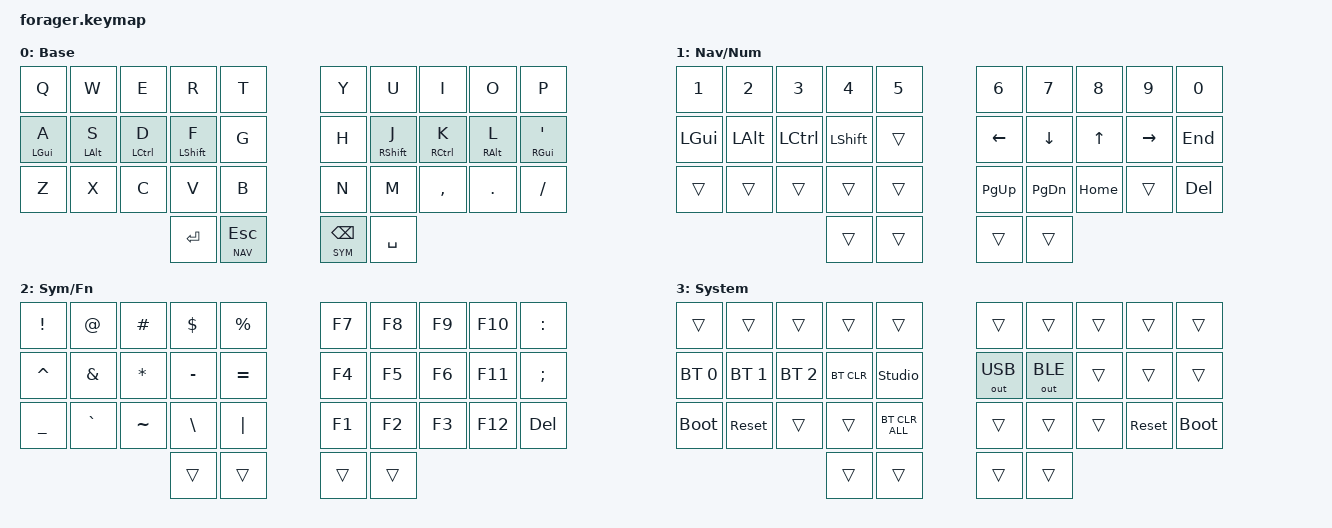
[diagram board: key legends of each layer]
/*
 * PandaKB Forager, 34 keys (3x5+2) — ZMK.
 * Ported from mbastar/zmk-keyboard-toucan2 @ 4195c28 (config/toucan.keymap).
 *
 * Why this port is NOT free, unlike Corne Mini -> Toucan2: those are 42-slot
 * arrays with dead outer columns. The Forager is a true 34-slot array, so every
 * position number changes (Toucan 12r+c -> Forager 10r+c-1; thumbs 37-40 ->
 * 30-33). Bindings and hold-tap tuning carry over unchanged; every combo and
 * every hold-trigger-key-positions list was renumbered.
 *
 * Thumbs: the Toucan's four inner thumbs, unchanged —
 *   ENT | ESC/NAV || BSPC/SYM | SPC
 * The two outer thumbs are gone: TAB moved to the Q+W combo; DEL stays on the
 * C+V combo and on NAV/SYM. The ARROW layer was a trial and was not ported.
 * No trackpad, so no TOUCH layer and no mouse keys.
 *
 * HRM TUNING LOG: internal-systems/infrastructure/keyboards/toucan2/hrm-tuning.md
 *   in the vault — the verified hold-tap model, the tests, and what is deferred.
 */

#include <behaviors.dtsi>
#include <dt-bindings/zmk/bt.h>
#include <dt-bindings/zmk/keys.h>
#include <dt-bindings/zmk/outputs.h>

#define DEF   0
#define NAV   1
#define SYM   2
#define ADJ   3


/* Layer-taps sit on ESC and BSPC, which you sometimes want to hold to repeat.
   quick-tap-ms restores that: tap, then press-and-hold again within 200 ms and
   it repeats the tap instead of entering the layer.
   require-prior-idle-ms (2026-09-10): SYM sits on Backspace, which is pressed
   mid-typing constantly. With no idle guard the stock flavor commits to the
   layer on the next keypress and types a symbol instead of a letter. 100 ms =
   no layer inside a typing roll, still instant after any pause. */
&lt { quick-tap-ms = <200>; require-prior-idle-ms = <100>; };

/* 34-slot matrix, no dead positions.
   Left:  0-4   10-14  20-24  thumbs 30 31
   Right: 5-9   15-19  25-29  thumbs 32 33 */

#define LEFT_KEYS   0 1 2 3 4 10 11 12 13 14 20 21 22 23 24
#define RIGHT_KEYS  5 6 7 8 9 15 16 17 18 19 25 26 27 28 29
#define LEFT_THUMB  30 31
#define RIGHT_THUMB 32 33

/ {
    behaviors {
        /* Home-row mods. Cross-hand only: a left-hand mod fires only if a RIGHT-hand
           key follows, which is what stops "df" turning into ctrl+d.

           Three tiers, tuned by how often the TAP character is typed -- not by
           which finger it is. Misfire risk scales with tap frequency; the cost of
           a hard hold scales with how often you need the mod. */

        /* Index (F J -> SHIFT; Ctrl split out to hmlc/hmrc 2026-09-28). Pressed mid-roll, so the hold
           has to be easy to get: shorter term, prior-idle 80 rather than 150
           because that guard was eating Shift right after a letter -- the
           "f/ instead of ?" failure. */
        hmli: home_row_mod_left_index {
            compatible = "zmk,behavior-hold-tap";
            #binding-cells = <2>;
            flavor = "balanced";
            tapping-term-ms = <200>;
            quick-tap-ms = <175>;
            require-prior-idle-ms = <80>;
            bindings = <&kp>, <&kp>;

            hold-trigger-key-positions = <RIGHT_KEYS RIGHT_THUMB>;
            hold-trigger-on-release;
        };

        hmri: home_row_mod_right_index {
            compatible = "zmk,behavior-hold-tap";
            #binding-cells = <2>;
            flavor = "balanced";
            tapping-term-ms = <200>;
            quick-tap-ms = <175>;
            require-prior-idle-ms = <80>;
            bindings = <&kp>, <&kp>;

            hold-trigger-key-positions = <LEFT_KEYS LEFT_THUMB>;
            hold-trigger-on-release;
        };

        /* Middle (D K -> CTRL), split out of hmli/hmri 2026-09-28. Balanced +
           hold-trigger-on-release has a release path: a cross-hand key pressed
           AND released while D is still down is a hold, whatever the term -- a
           lingering "do" became Ctrl-O. tap-preferred has no such path; Ctrl
           engages only when the term expires. Cost: every Ctrl (C-c, C-o, C-r)
           is a deliberate 200 ms hold. prior-idle 150 keeps D/K a plain tap
           inside a typing roll. Positional kept: moot for tap-preferred, harmless. */
        hmlc: home_row_mod_left_ctrl {
            compatible = "zmk,behavior-hold-tap";
            #binding-cells = <2>;
            flavor = "tap-preferred";
            tapping-term-ms = <200>;
            quick-tap-ms = <175>;
            require-prior-idle-ms = <150>;
            bindings = <&kp>, <&kp>;

            hold-trigger-key-positions = <RIGHT_KEYS RIGHT_THUMB>;
            hold-trigger-on-release;
        };

        hmrc: home_row_mod_right_ctrl {
            compatible = "zmk,behavior-hold-tap";
            #binding-cells = <2>;
            flavor = "tap-preferred";
            tapping-term-ms = <200>;
            quick-tap-ms = <175>;
            require-prior-idle-ms = <150>;
            bindings = <&kp>, <&kp>;

            hold-trigger-key-positions = <LEFT_KEYS LEFT_THUMB>;
            hold-trigger-on-release;
        };

        /* Ring + pinky (S ' -> ALT, GUI; L split out to hmra 2026-09-28). ALT stays fast because
           option-arrow and option-backspace are mid-flow editing gestures;
           ' stays fast because it is the only source of Cmd for every
           left-hand letter.

           2026-09-10: hml term 280 -> 350. For a balanced cross-hand mod the
           term only governs same-hand and solo holds -- the intended cross-hand
           chords resolve on interrupt and never see it. Word-initial "se" after
           a pause was crossing 280 ms before E released and firing Opt-E (the
           ´ dead key). hmr stays at 280 on purpose: L+E is cross-hand, so a
           longer term cannot help it, and ' is almost never solo-held. */
        hml: home_row_mod_left {
            compatible = "zmk,behavior-hold-tap";
            #binding-cells = <2>;
            flavor = "balanced";
            tapping-term-ms = <350>;
            quick-tap-ms = <175>;
            require-prior-idle-ms = <150>;
            bindings = <&kp>, <&kp>;

            hold-trigger-key-positions = <RIGHT_KEYS RIGHT_THUMB>;
            hold-trigger-on-release;
        };

        hmr: home_row_mod_right {
            compatible = "zmk,behavior-hold-tap";
            #binding-cells = <2>;
            flavor = "balanced";
            tapping-term-ms = <280>;
            quick-tap-ms = <175>;
            require-prior-idle-ms = <150>;
            bindings = <&kp>, <&kp>;

            hold-trigger-key-positions = <LEFT_KEYS LEFT_THUMB>;
            hold-trigger-on-release;
        };

        /* Right ring (L -> ALT), split out of hmr 2026-09-28 -- the same release
           path: "li" -> Opt-I (ˆ), "le" -> Opt-E (´). tap-preferred, so a
           right-hand Alt is a deliberate 200 ms hold. ' stays on balanced hmr:
           '+V is the designed fast paste. */
        hmra: home_row_mod_right_alt {
            compatible = "zmk,behavior-hold-tap";
            #binding-cells = <2>;
            flavor = "tap-preferred";
            tapping-term-ms = <200>;
            quick-tap-ms = <175>;
            require-prior-idle-ms = <150>;
            bindings = <&kp>, <&kp>;

            hold-trigger-key-positions = <LEFT_KEYS LEFT_THUMB>;
            hold-trigger-on-release;
        };

        /* Left pinky only (A -> GUI). tap-preferred resolves as HOLD only when the
           term actually expires, no matter what else is pressed -- so "an",
           "and", "man", "a " can no longer become Cmd-N or Cmd-Space. 'a' is ~8%
           of English letters, which is why this key needs the guard; ' is under
           0.3%, which is why the right pinky does not.

           2026-09-10 retune: the timer is this key's ONLY hold path, so the
           term is felt on every Cmd -- 200 not 280. require-prior-idle-ms
           150 -> 0: it turned A into an instant tap whenever paste followed
           typing ("xxav"), and tap-preferred already does the roll protection
           it was there for. Verified on the board: hold A past the term, tap V
           any time -> paste; positional does not downgrade a timer-decided
           hold. New exposure: an 'a' held 200 ms+ with any key pressed is Cmd.

           2026-09-11 round 2: that exposure fired in the wild -- hesitation
           on 'a' became Cmd. One change per the round cadence: term 200 -> 230.
           Every deliberate Cmd now takes 230 ms; nothing else moved. */
        hmlp: home_row_mod_left_pinky {
            compatible = "zmk,behavior-hold-tap";
            #binding-cells = <2>;
            flavor = "tap-preferred";
            tapping-term-ms = <230>;
            quick-tap-ms = <175>;
            require-prior-idle-ms = <0>;
            bindings = <&kp>, <&kp>;

            hold-trigger-key-positions = <RIGHT_KEYS RIGHT_THUMB>;
            hold-trigger-on-release;
        };

        caps: caps {
            compatible = "zmk,behavior-caps-word";
            #binding-cells = <0>;
            continue-list = <MINUS UNDERSCORE BACKSPACE>;
        };
    };

    conditional_layers {
        compatible = "zmk,conditional-layers";

        tri_layer {
            if-layers = <NAV SYM>;
            then-layer = <ADJ>;
        };
    };

    combos {
        compatible = "zmk,combos";

        tab {
            bindings = <&kp TAB>;
            key-positions = <0 1>;
            layers = <DEF NAV>;
            require-prior-idle-ms = <150>;
        }; /* Q + W -> TAB (replaces the Toucan's outer left thumb). "qw" is in
              no English word; the idle guard stops it firing inside a typing
              roll. Cmd-Tab: hold Cmd on the RIGHT pinky (') -- cross-hand, so
              the HRM resolves normally. Active on NAV too, so NAV + A (plain
              Cmd) + Q+W is a fallback route. */
        screenshot {
            bindings = <&kp LG(LS(N4))>;
            key-positions = <0 20>;
            layers = <DEF>;
        }; /* Q + Z */
        dictation {
            bindings = <&kp F13>;
            key-positions = <27 28>;
            layers = <DEF>;
        }; /* , + . -> F13 (Raycast dictation). Deliberately not right-GUI:
              VoiceInk listens for a bare right-GUI tap, so every cross-hand Cmd
              from the `'` home-row mod flashed the dictation window. */
        lpar {
            bindings = <&kp LPAR>;
            key-positions = <3 4>;
            layers = <DEF>;
        }; /* R + T */
        rpar {
            bindings = <&kp RPAR>;
            key-positions = <5 6>;
            layers = <DEF>;
        }; /* Y + U */
        lbkt {
            bindings = <&kp LBKT>;
            key-positions = <13 14>;
            layers = <DEF>;
        }; /* F + G */
        rbkt {
            bindings = <&kp RBKT>;
            key-positions = <15 16>;
            layers = <DEF>;
        }; /* H + J */
        lbrc {
            bindings = <&kp LBRC>;
            key-positions = <23 24>;
            layers = <DEF>;
        }; /* V + B */
        rbrc {
            bindings = <&kp RBRC>;
            key-positions = <25 26>;
            layers = <DEF>;
        }; /* N + M */

        capsword {
            bindings = <&caps>;
            key-positions = <13 16>;
        };  /* F + J -> caps word */
        plus {
            bindings = <&kp PLUS>;
            key-positions = <13 14>;
            layers = <SYM>;
        };  /* SYM: - and = together -> +. Scoped to SYM so F+G on base is
               still `[`. Known risk: typing `-=` fast; fix is timeout-ms. */
        del {
            bindings = <&kp DEL>;
            key-positions = <22 23>;
        };  /* C + V -> DEL. "cv" is in no English word. */
    };

    keymap {
        compatible = "zmk,keymap";

        DEF {
            display-name = "Base";

            // |  Q  |  W  |  E  |  R  |  T  |   |  Y  |  U  |  I  |  O  |  P  |
            // |  A  |  S  |  D  |  F  |  G  |   |  H  |  J  |  K  |  L  |  '  |  home-row mods
            // |  Z  |  X  |  C  |  V  |  B  |   |  N  |  M  |  ,  |  .  |  /  |
            //                   | ENT | ESC/NAV |   | BSPC/SYM | SPC |
            //   combos: Q+W TAB · C+V DEL · F+J caps word

            bindings = <
&kp Q         &kp W        &kp E          &kp R          &kp T          &kp Y         &kp U          &kp I          &kp O         &kp P
&hmlp LGUI A  &hml LALT S  &hmlc LCTRL D  &hmli LSHFT F  &kp G          &kp H         &hmri RSHFT J  &hmrc RCTRL K  &hmra RALT L  &hmr RGUI SQT
&kp Z         &kp X        &kp C          &kp V          &kp B          &kp N         &kp M          &kp COMMA      &kp DOT       &kp FSLH
                                          &kp RET        &lt NAV ESC    &lt SYM BSPC  &kp SPACE
            >;
        };

        NAV {
            display-name = "Nav/Num";

            // |  1  |  2  |  3  |  4  |  5  |   |  6  |  7   |  8   |  9  |  0  |
            // | GUI | ALT | CTL | SFT |     |   |  <- |  v   |  ^   |  -> | END |
            // |     |     |     |     |     |   | PGUP| PGDN | HOME |     | DEL |

            bindings = <
&kp N1    &kp N2    &kp N3     &kp N4     &kp N5    &kp N6     &kp N7     &kp N8    &kp N9     &kp N0
&kp LGUI  &kp LALT  &kp LCTRL  &kp LSHFT  &trans    &kp LEFT   &kp DOWN   &kp UP    &kp RIGHT  &kp END
&trans    &trans    &trans     &trans     &trans    &kp PG_UP  &kp PG_DN  &kp HOME  &trans     &kp DEL
                               &trans     &trans    &trans     &trans
            >;
        };

        SYM {
            display-name = "Sym/Fn";

            // |  !  |  @  |  #  |  $  |  %  |   | F7 | F8 | F9 | F10 |  :  |
            // |  ^  |  &  |  *  |  -  |  =  |   | F4 | F5 | F6 | F11 |  ;  |
            // |  _  |  `  |  ~  |  \  | "|" |   | F1 | F2 | F3 | F12 | DEL |
            //   combo: - + =  ->  +

            bindings = <
&kp EXCL   &kp AT     &kp HASH   &kp DLLR   &kp PRCNT    &kp F7  &kp F8  &kp F9  &kp F10  &kp COLON
&kp CARET  &kp AMPS   &kp ASTRK  &kp MINUS  &kp EQUAL    &kp F4  &kp F5  &kp F6  &kp F11  &kp SEMI
&kp UNDER  &kp GRAVE  &kp TILDE  &kp BSLH   &kp PIPE     &kp F1  &kp F2  &kp F3  &kp F12  &kp DEL
                                 &trans     &trans       &trans  &trans
            >;
        };

        ADJ {
            display-name = "System";

            // reached by holding NAV + SYM together (conditional layer)
            // |     |     |     |     |        |   |     |     |     |      |      |
            // | BT0 | BT1 | BT2 |BTCLR| STUDIO |   | USB | BLE |     |      |      |
            // | BOOT|RESET|     |     |BTCLRA  |   |     |     |     |RESET | BOOT |
            //
            // BT0 (A) = Mac Studio, BT1 (S) = MacBook Air. Studio differs from the other
            // boards (D there); the Air key matches.
            // &bootloader / &sys_reset are SOURCE-SPECIFIC on a split: each only
            // affects the half it is physically pressed on, so both halves need
            // their own. Studio locking is off in this module (forager_left.conf),
            // so &studio_unlock is belt-and-braces, not required.

            bindings = <
&trans        &trans        &trans        &trans      &trans            &trans         &trans         &trans  &trans      &trans
&bt BT_SEL 0  &bt BT_SEL 1  &bt BT_SEL 2  &bt BT_CLR  &studio_unlock    &out OUT_USB   &out OUT_BLE   &trans  &trans      &trans
&bootloader   &sys_reset    &trans        &trans      &bt BT_CLR_ALL    &trans         &trans         &trans  &sys_reset  &bootloader
                                          &trans      &trans            &trans         &trans
            >;
        };

        /* Empty slots so ZMK Studio can hand out extra layers with no rebuild. */

        extra1 { status = "reserved"; };

        extra2 { status = "reserved"; };
    };
};
